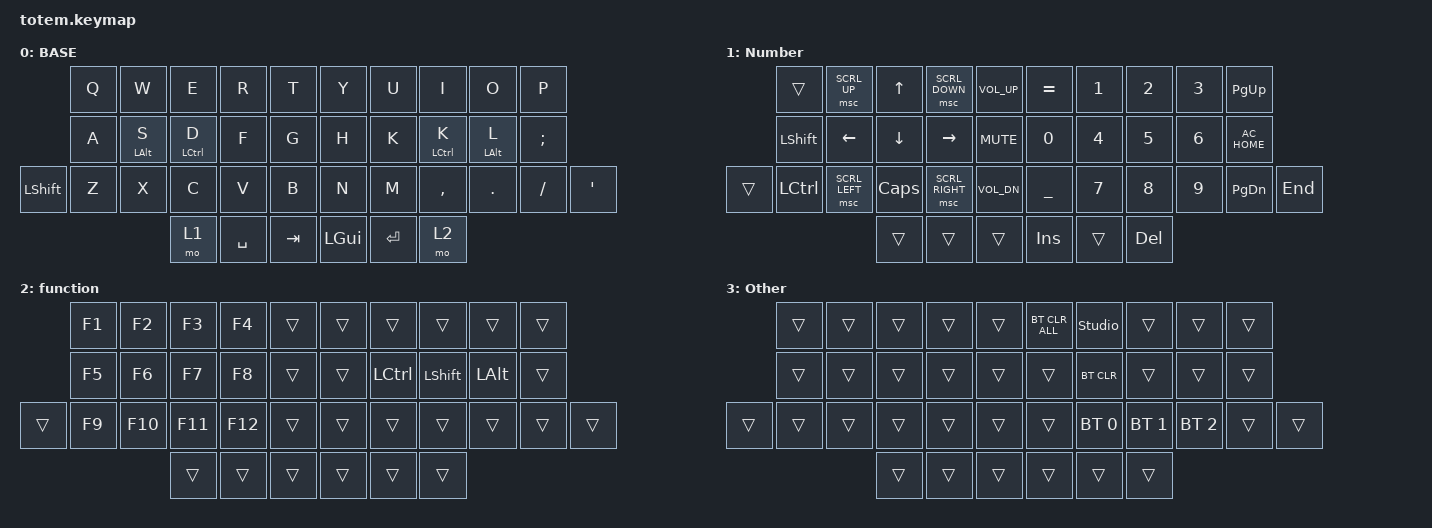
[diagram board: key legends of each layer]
//
//                                                        ▀▀▀▀▀     ▀▀▀▀▀          ▀▀█▀▀
//                                                        ▄▀▀▀▄  ▄  ▄▀▀▀▄  ▄  ▄▀▀▀▄  █  ▄▀▀▀▄
//                                                        █   █  █  █   █  █  █   █  █  █   █
//                                                         ▀▀▀   █   ▀▀▀   █   ▀▀▀   ▀   ▀▀▀
//                                                               █      ▄▄▄█▄▄▄    █   █  
//                                                               ▀      █  █  █     █▄█
//                                                             ▀▀▀▀▀    █  █  █      ▀
//                                                                      ▀  ▀  ▀
//
// ▄▄▄▄▄▄▄▄▄▄▄▄▄▄▄▄▄▄▄▄▄▄▄▄▄▄▄▄▄▄▄▄▄▄▄▄▄▄▄▄▄▄▄▄▄▄▄▄▄▄▄▄▄▄▄▄▄▄▄▄▄▄▄▄▄▄▄▄▄▄▄▄▄▄▄▄▄▄▄▄▄▄▄▄▄▄▄▄▄▄▄▄▄▄▄▄▄▄▄▄▄▄▄▄▄▄▄▄▄▄▄▄▄▄▄▄▄▄▄▄▄▄▄▄▄▄▄▄▄▄▄▄▄▄▄▄▄▄▄▄▄▄▄▄▄▄▄▄▄

#include <behaviors.dtsi>
#include <dt-bindings/zmk/bt.h>
#include <dt-bindings/zmk/keys.h>
#include <dt-bindings/zmk/pointing.h>

#define BASE 0
#define NAV  1
#define SYM  2
#define ADJ  3

&mt {
    quick-tap-ms = <100>;
    global-quick-tap;
    flavor = "tap-preferred";
    tapping-term-ms = <170>;
};

/ {
    combos {
        compatible = "zmk,combos";

        word_delete {
            bindings = <&kp LC(DELETE)>;
            key-positions = <8 9>;
            timeout-ms = <0>;
            layers = <0>;
        };

        copy {
            bindings = <&kp K_COPY>;
            key-positions = <23 24>;
        };

        paste {
            bindings = <&kp K_PASTE>;
            key-positions = <27 28>;
        };
    };

    keymap {
        compatible = "zmk,keymap";

        // ▄▄▄▄▄▄▄▄▄▄▄▄▄▄▄▄▄▄▄▄▄▄▄▄▄▄▄▄▄▄▄▄▄▄▄▄▄▄▄▄▄▄▄▄▄▄▄▄▄▄▄▄▄▄▄▄▄▄▄▄▄▄▄▄▄▄▄▄▄▄▄▄▄▄▄▄▄▄▄▄▄▄▄▄▄▄▄▄▄▄▄▄▄▄▄▄▄▄▄▄▄▄▄▄▄▄▄▄▄▄▄▄▄▄▄▄▄▄▄▄▄▄▄▄▄▄▄▄▄▄▄▄▄▄▄▄▄▄▄▄▄▄▄▄▄▄▄▄▄

        base_layer {
            // ┏━━━━━━━━━━━━━━━━━━━━━━━━━━━━━━━━━━━━━━━┓

            label = "BASE";

            // ┗━━━━━━━━━━━━━━━━━━━━━━━━━━━━━━━━━━━━━━━┛
            //             ┏━━━━━━━━━━━┳━━━━━━━━━━━┳━━━━━━━━━━━┳━━━━━━━━━━━┳━━━━━━━━━━━┓   ┏━━━━━━━━━━━┳━━━━━━━━━━━┳━━━━━━━━━━━┳━━━━━━━━━━━┳━━━━━━━━━━━┓
            //             ┃     Q     ┃     W     ┃     F     ┃     P     ┃     G     ┃   ┃     J     ┃     L     ┃     U     ┃     Y     ┃     ;     ┃
            //             ┣━━━━━━━━━━━╋━━━━━━━━━━━╋━━━━━━━━━━━╋━━━━━━━━━━━╋━━━━━━━━━━━┫   ┣━━━━━━━━━━━╋━━━━━━━━━━━╋━━━━━━━━━━━╋━━━━━━━━━━━╋━━━━━━━━━━━┫
            //             ┃     A     ┃     R     ┃     S     ┃     T     ┃     D     ┃   ┃     H     ┃     N     ┃     E     ┃     I     ┃     O     ┃
            // ┏━━━━━━━━━━━╋━━━━━━━━━━━╋━━━━━━━━━━━╋━━━━━━━━━━━╋━━━━━━━━━━━╋━━━━━━━━━━━┫   ┣━━━━━━━━━━━╋━━━━━━━━━━━╋━━━━━━━━━━━╋━━━━━━━━━━━╋━━━━━━━━━━━╋━━━━━━━━━━━┓
            // ┃           ┃     Z     ┃     X     ┃     C     ┃     V     ┃     B     ┃   ┃     K     ┃     M     ┃     ,     ┃     .     ┃     /     ┃           ┃
            // ┗━━━━━━━━━━━┻━━━━━━━━━━━┻━━━━━━━━━━━╋━━━━━━━━━━━╋━━━━━━━━━━━╋━━━━━━━━━━━┫   ┣━━━━━━━━━━━╋━━━━━━━━━━━╋━━━━━━━━━━━╋━━━━━━━━━━━┻━━━━━━━━━━━┻━━━━━━━━━━━┛
            //                                     ┃           ┃    TAB    ┃    SPC    ┃   ┃   ENTER   ┃   BSPC    ┃           ┃
            //                                     ┗━━━━━━━━━━━┻━━━━━━━━━━━┻━━━━━━━━━━━┛   ┗━━━━━━━━━━━┻━━━━━━━━━━━┻━━━━━━━━━━━┛

            bindings = <
                &kp Q  &kp W           &kp E               &kp R      &kp T      &kp Y     &kp U      &kp I               &kp O           &kp P
                &kp A  &mt LEFT_ALT S  &mt LEFT_CONTROL D  &kp F      &kp G      &kp H     &kp K      &mt LEFT_CONTROL K  &mt LEFT_ALT L  &kp SEMICOLON
&kp LEFT_SHIFT  &kp Z  &kp X           &kp C               &kp V      &kp B      &kp N     &kp M      &kp COMMA           &kp DOT         &kp FSLH       &kp APOS
                                       &mo 1               &kp SPACE  &kp TAB    &kp LGUI  &kp ENTER  &mo 2
            >;
        };

        Number {
            bindings = <
        &trans     &msc SCRL_UP    &kp UP_ARROW  &msc SCRL_DOWN   &kp C_VOL_UP    &kp EQUAL   &kp N1  &kp N2   &kp N3  &kp PAGE_UP
        &kp LSHFT  &kp LEFT        &kp DOWN      &kp RIGHT        &kp K_MUTE      &kp N0      &kp N4  &kp N5   &kp N6  &kp C_AC_HOME
&trans  &kp LCTRL  &msc SCRL_LEFT  &kp CAPS      &msc SCRL_RIGHT  &kp C_VOL_DN    &kp UNDER   &kp N7  &kp N8   &kp N9  &kp PAGE_DOWN  &kp END
                                   &trans        &trans           &trans          &kp INSERT  &trans  &kp DEL
            >;
        };

        function {
            bindings = <
        &kp F1  &kp F2   &kp F3   &kp F4   &trans    &trans  &trans     &trans     &trans    &trans
        &kp F5  &kp F6   &kp F7   &kp F8   &trans    &trans  &kp LCTRL  &kp LSHFT  &kp LALT  &trans
&trans  &kp F9  &kp F10  &kp F11  &kp F12  &trans    &trans  &trans     &trans     &trans    &trans  &trans
                         &trans   &trans   &trans    &trans  &trans     &trans
            >;
        };

        Other {
            bindings = <
        &trans  &trans  &trans  &trans  &trans    &bt BT_CLR_ALL  &studio_unlock  &trans        &trans        &trans
        &trans  &trans  &trans  &trans  &trans    &trans          &bt BT_CLR      &trans        &trans        &trans
&trans  &trans  &trans  &trans  &trans  &trans    &trans          &bt BT_SEL 0    &bt BT_SEL 1  &bt BT_SEL 2  &trans  &trans
                        &trans  &trans  &trans    &trans          &trans          &trans
            >;
        };
    };

    conditional_layers {
        compatible = "zmk,conditional-layers";

        Othertrigger {
            if-layers = <1 3>;
            then-layer = <3>;
        };
    };
};
